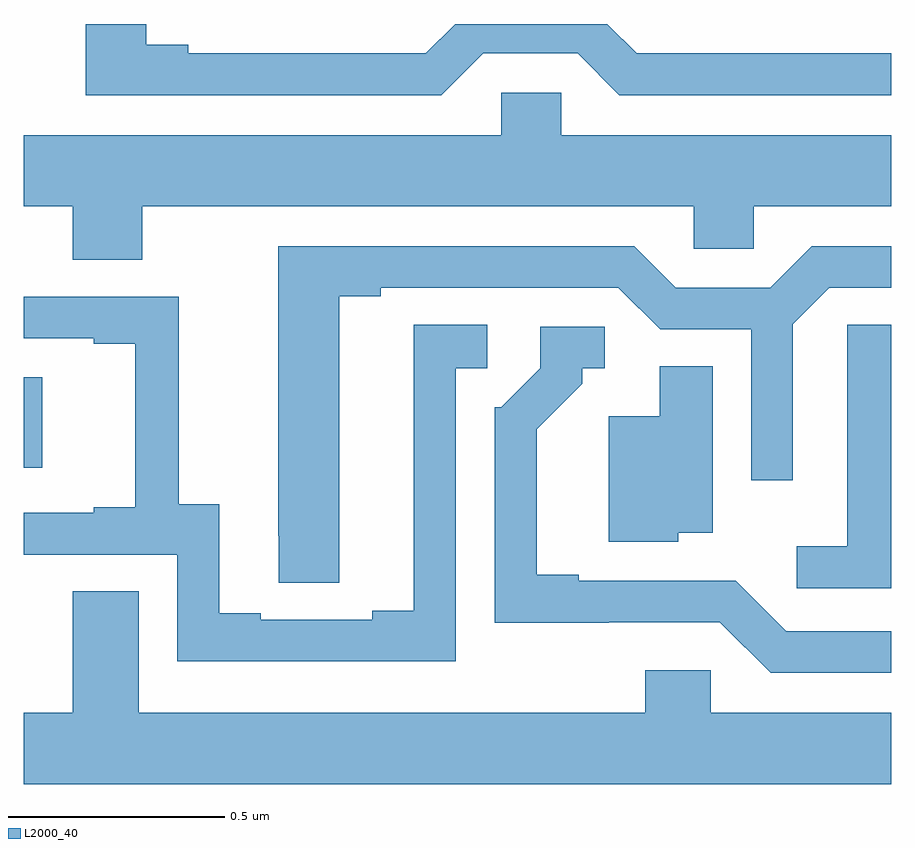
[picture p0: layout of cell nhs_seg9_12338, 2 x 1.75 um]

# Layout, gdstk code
import gdstk
lib = gdstk.Library(unit=1e-6, precision=1e-09)
def R(c, l, rs):  # rectangles x0, y0, x1, y1
    for r in rs: c.add(gdstk.rectangle(r[:2], r[2:], *l))
def P(c, l, *ps):  # polygons
    for p in ps: c.add(gdstk.Polygon(p, *l))
L2000_40 = (2000, 40)

nhs_seg9_12338 = lib.new_cell('nhs_seg9_12338')
R(nhs_seg9_12338, L2000_40, [(267,1202.477,267.043,1202.686)])
P(nhs_seg9_12338, L2000_40, [(268.059,1203.432),(268.277,1203.432),(268.373,1203.336),(269,1203.336),(269,1203.432),(268.413,1203.432),(268.345,1203.5),(267.995,1203.5),(267.927,1203.432),(267.379,1203.432),(267.379,1203.452),(267.283,1203.452),(267.283,1203.5),(267.143,1203.5),(267.143,1203.336),(267.963,1203.336)],
  [(267.273,1203.08),(268.545,1203.08),(268.545,1202.982),(268.683,1202.982),(268.683,1203.08),(269,1203.08),(269,1203.244),(268.239,1203.244),(268.239,1203.342),(268.101,1203.342),(268.101,1203.244),(267,1203.244),(267,1203.08),(267.113,1203.08),(267.113,1202.956),(267.273,1202.956)],
  [(267.727,1202.872),(267.823,1202.872),(267.823,1202.892),(268.371,1202.892),(268.467,1202.796),(268.677,1202.796),(268.677,1202.448),(268.773,1202.448),(268.773,1202.808),(268.857,1202.892),(269,1202.892),(269,1202.988),(268.817,1202.988),(268.721,1202.892),(268.503,1202.892),(268.407,1202.988),(267.587,1202.988),(267.587,1202.32),(267.588,1202.32),(267.588,1202.212),(267.727,1202.212)],
  [(267.996,1202.706),(268.069,1202.706),(268.069,1202.807),(267.899,1202.807),(267.899,1202.147),(267.803,1202.147),(267.803,1202.127),(267.547,1202.127),(267.547,1202.142),(267.451,1202.142),(267.451,1202.393),(267.357,1202.393),(267.357,1202.871),(267,1202.871),(267,1202.775),(267.161,1202.775),(267.161,1202.763),(267.257,1202.763),(267.257,1202.386),(267.161,1202.386),(267.161,1202.373),(267,1202.373),(267,1202.277),(267.354,1202.277),(267.354,1202.031),(267.996,1202.031)],
  [(269,1202.807),(268.899,1202.807),(268.899,1202.699),(268.898,1202.699),(268.898,1202.296),(268.782,1202.296),(268.782,1202.199),(269,1202.199)],
  [(269,1202.1),(268.758,1202.1),(268.641,1202.217),(268.279,1202.217),(268.279,1202.23),(268.183,1202.23),(268.183,1202.566),(268.288,1202.671),(268.288,1202.706),(268.339,1202.706),(268.339,1202.802),(268.191,1202.802),(268.191,1202.706),(268.101,1202.616),(268.086,1202.616),(268.086,1202.12),(268.349,1202.12),(268.349,1202.121),(268.605,1202.121),(268.722,1202.004),(269,1202.004)],
  [(268.509,1202.327),(268.588,1202.327),(268.588,1202.711),(268.466,1202.711),(268.466,1202.596),(268.349,1202.596),(268.349,1202.306),(268.509,1202.306)],
  [(269,1201.912),(268.584,1201.912),(268.584,1202.01),(268.433,1202.01),(268.433,1201.912),(267.265,1201.912),(267.265,1202.192),(267.113,1202.192),(267.113,1201.912),(267,1201.912),(267,1201.748),(269,1201.748)])

lib.write_gds('nhs_seg9_12338.gds')
